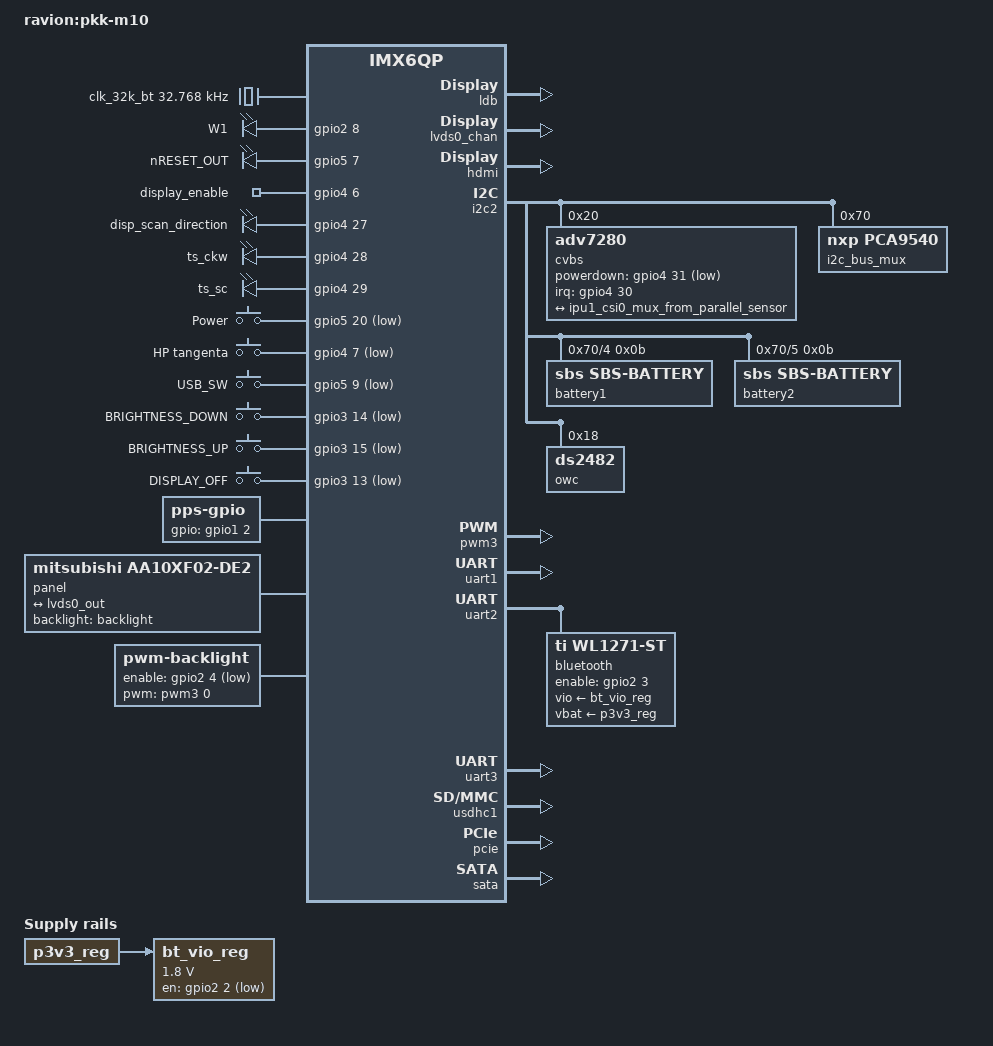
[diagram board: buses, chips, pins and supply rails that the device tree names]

/dts-v1/;

#include <dt-bindings/input/input.h>
#include <dt-bindings/interrupt-controller/irq.h>
#include "imx6qp.dtsi"
#include "imx6qdl-ravion.dtsi"

/ {
	model = "ravion:pkk-m10";
	compatible = "ravion,mcp", "ravion,raviom_imx6qp", "fsl,imx6qp";

	/*
	 * Device specific clocks
	 */
	clocks {
		clk_32k_bt: bt_clk {
			compatible = "fixed-clock";
			#clock-cells = <0>;
			clock-frequency = <32768>;
			clock-accuracy = <100>;
		 };
	};

	/*
	 * Device specific regulators
	 */
	bt_vio_reg: bt_vio {
			pinctrl-names = "default";
			pinctrl-0 = <&pinctrl_reg_bt_cif>;
			compatible = "regulator-fixed";
			regulator-name = "VIO_BT";
			regulator-min-microvolt = <1800000>;
			regulator-max-microvolt = <1800000>;
			gpio = <&gpio2 2 GPIO_ACTIVE_LOW>;
			regulator-always-on;
			vin-supply = <&p3v3_reg>;
	};

	/*
	 * Device specific leds
	 */
	gpio-leds {
		compatible = "gpio-leds";
		pinctrl-names = "default";
		pinctrl-0 = <&pinctrl_gpio_leds>;

		w1 {
			label = "W1";
			gpios = <&gpio2 8 GPIO_ACTIVE_HIGH>; /* soDimm127 */
			default-state = "on";
		};

		reset_out {
			label = "nRESET_OUT";
			gpios = <&gpio5 7 GPIO_ACTIVE_HIGH>; /* soDimm87 */
			default-state = "on";
		};

		disp_en {
			label = "display_enable";
			gpios = <&gpio4 6 GPIO_ACTIVE_HIGH>; /* SODIMM 124 */
			default-state = "on";
		};

		scan_dir {
			label = "disp_scan_direction";
			gpios = <&gpio4 27 GPIO_ACTIVE_HIGH>; /* SODIMM 184 */
			default-state = "off";
		};

		ts_ckw {
			label = "ts_ckw";
			gpios = <&gpio4 28 GPIO_ACTIVE_HIGH>; /* SODIMM 186 */
			default-state = "on";
		};

		ts_sc {
			label = "ts_sc";
			gpios = <&gpio4 29 GPIO_ACTIVE_HIGH>; /* SODIMM 188 */
			default-state = "on";
		};
	};

	/*
	 * Device specific keys
	 */
	gpio-keys {
		compatible = "gpio-keys";
		pinctrl-names = "default";
		pinctrl-0 = <&pinctrl_gpio_keys>;

		power {
			label = "Power";
			gpios = <&gpio5 20 GPIO_ACTIVE_LOW>; /* SODIMM 45 */
			linux,code = <KEY_POWER>;
			debounce-interval = <100>;
			wakeup-source;
		};

		hp_tangenta {
			label = "HP tangenta";
			gpios = <&gpio4 7 GPIO_ACTIVE_LOW>; /* SODIMM 134 */
			linux,code = <KEY_F13>;
			debounce-interval = <100>;
		};

		usb_sw {
			label = "USB_SW";
			gpios = <&gpio5 9 GPIO_ACTIVE_LOW>; /* SODIMM 122 */
			linux,input-type = <EV_SW>;
			linux,code = <SW_DOCK>;
			debounce-interval = <100>;
		};

		brightness_down  {
			label = "BRIGHTNESS_DOWN";
			gpios = <&gpio3 14 GPIO_ACTIVE_LOW>; /* SODIMM 118 */
			linux,code = <KEY_BRIGHTNESSDOWN>;
			debounce-interval = <100>;
		};

		brightness_up  {
			label = "BRIGHTNESS_UP";
			gpios = <&gpio3 15 GPIO_ACTIVE_LOW>; /* SODIMM 120 */
			linux,code = <KEY_BRIGHTNESSUP>;
			debounce-interval = <100>;
		};

		display_off  {
			label = "DISPLAY_OFF";
			gpios = <&gpio3 13 GPIO_ACTIVE_LOW>; /* SODIMM 116 */
			linux,code = <KEY_DISPLAY_OFF>;
			debounce-interval = <100>;
		};
	};

	/*
	 * PPS pin from SNS receiver
	 */
	pps {
		compatible = "pps-gpio";
		pinctrl-names = "default";
		pinctrl-0 = <&pinctrl_pps_gpio>;

		gpios = <&gpio1 2 GPIO_ACTIVE_HIGH>; /* soDimm 55 */
		assert-falling-edge;
		status = "okay";
	};


	panel {
		compatible = "mitsubishi,AA10XF02-DE2", "panel-lvds";
		backlight = <&backlight>;
		data-mapping = "jeida-24"; /* "jeida-18", "vesa-24" */

		width-mm = <210>;
		height-mm = <158>;

		panel-timing {
			clock-frequency = <65000000>;
			hactive = <1024>;
			vactive = <768>;
			hsync-len = <20>;
			hfront-porch = <150>;
			hback-porch = <150>;
			vfront-porch = <15>;
			vback-porch = <15>;
			vsync-len = <8>;
		};

		port {
			lvds_panel_in: endpoint {
				remote-endpoint = <&lvds0_out>;
			};
		};
	};

	backlight: backlight {
		pinctrl-names = "default";
		pinctrl-0 = <&pinctrl_gpio_bl_on>;
		compatible = "pwm-backlight";
		enable-gpios = <&gpio2 4 GPIO_ACTIVE_LOW>;	/* soDimm 119 */
		pwms = <&pwm3 0 2000>; /* FixMe: frequency !!! */
		brightness-levels = <0 31 63 95 127 159 191 223 255>;
		default-brightness-level = <5>;
		status = "okay";
	};
};

/*
 * LVDS display bridge
 */
&ldb {		status = "okay";	};
&lvds0_chan {
	fsl,data-mappings = "jeida"; /* "spwg" */
	fsl,data-width = <24>;
	status = "okay";
};
&lvds0_out { remote-endpoint = <&lvds_panel_in>; };

&hdmi {	status = "okay"; };

/*
 * Colibri I2C: I2C3_SDA/SCL on SODIMM 194/196 (e.g. RTC on carrier board)
 */
&i2c2 {
	status = "okay";

	/* Composite video capture interface */
	cvbs: adv7280@20 {
		reg = <0x20>;
		compatible = "adv7280", "adi,adv7280";
		pinctrl-names = "default";
		pinctrl-0 = <&pinctrl_adv7280>;
		interrupt-parent = <&gpio4>;
		interrupts = <30 IRQ_TYPE_LEVEL_LOW>;
		powerdown-gpios = <&gpio4 31 GPIO_ACTIVE_LOW>;
		input-names = "Ain1","Ain2","Ain3","Ain4";
		inputs = <0x00 0x01 0x02 0x03>;
		status = "okay";

		port {
			adv7280_ep: endpoint {
				remote-endpoint = <&ipu1_csi0_mux_from_parallel_sensor>;
				bus-width = <8>;
			};
		};
	};

	i2c_bus_mux: mux@70 { /* I2C bus multiplexer/switch */
		status = "okay";
		compatible = "nxp,pca9540";
		#address-cells = <1>;
		#size-cells = <0>;
		reg = <0x70>;

		i2c-mux@4 {
			#address-cells = <1>;
			#size-cells = <0>;
			reg = <4>;
			status = "okay";

			/* Texas Instruments SBS-compatible Fuel Gauge Controller */
			battery1@0b {
				status = "okay";
				compatible = "sbs,sbs-battery";
				reg = <0x0b>;
				sbs,i2c-retry-count = <2>;
				sbs,poll-retry-count = <10>;
			};
		};

		i2c-mux@5 {
			#address-cells = <1>;
			#size-cells = <0>;
			reg = <5>;
			status = "okay";

			/* Texas Instruments SBS-compatible Fuel Gauge Controller */
			battery2@0b {
				status = "okay";
				compatible = "sbs,sbs-battery";
				reg = <0x0b>;
				sbs,i2c-retry-count = <2>;
				sbs,poll-retry-count = <10>;
			};
		};
	};

	/* DS2484: I2C to OneWire Converter */
	owc: ds2482@18 {
		status = "okay";
		compatible = "ds2482";
		reg = <0x18>;
	};
};

/*
 * Composite video capture
 */
&ipu1_csi0 {
	pinctrl-names = "default";
	pinctrl-0 = <&pinctrl_ipu1_csi0>;
};

&ipu1_csi0_from_ipu1_csi0_mux {
};

&ipu1_csi0_mux_from_parallel_sensor {
	remote-endpoint = <&adv7280_ep>;
};

/* Only pwm1 used as bright contol, all other - disabled  */
&pwm3 { status = "okay";	}; /* soDimm 28 - LCD bright */

/* uart1 - sys (3w), uart2 - bluetoth (H3), uart3 disabled by default */
&uart1 { status = "okay"; }; /* default full feature uart */
&uart2 { /* default have CTS/RTS pins */
	status = "okay";

	bluetooth {
		pinctrl-names = "default";
		pinctrl-0 = <&pinctrl_bluetooth>;

		enable-gpios	= <&gpio2 3 GPIO_ACTIVE_HIGH>;
		compatible	= "ti,wl1271-st";
		clocks		= <&clk_32k_bt 0>;
		clock-names	= "ext_clock";
		max-speed	= <3686400>;
		/*
		 * Params not found in source, but described in documentation
		 */
		current-speed	= <115200>;
		vio-supply	= <&bt_vio_reg>;
		vbat-supply	= <&p3v3_reg>;
		status = "okay";
	};
};
&uart3 { status = "okay"; }; /* default 3-wire uart */

/* external mmc card */
&usdhc1 { status = "okay"; };

/*
 * High-speed serial bus
 */
&pcie {	status = "okay";	};
&sata {	status = "okay";	};

/* Board specific io muxing */
&iomuxc {
	pinctrl_reg_bt_cif: gpio-reg-bt-cif {
		fsl,pins = <
			MX6QDL_PAD_NANDF_D2__GPIO2_IO02		0x0f058 /* PU_22K soDimm 115: CIF_BT_PWR */
		>;
	};

	pinctrl_gpio_bl_on: gpioblon {
		fsl,pins = <
			MX6QDL_PAD_NANDF_D4__GPIO2_IO04		0x1b0b0 /* soDimm 119 */
		>;
	};

	pinctrl_adv7280: gpio-adv7280 {
		fsl,pins = <
			MX6QDL_PAD_DISP0_DAT9__GPIO4_IO30	0x1b0b0	/* soDimm71  CIF_DATA0 - CIF_IRQn */
			MX6QDL_PAD_DISP0_DAT10__GPIO4_IO31	0x0f058	/* soDimm98  CIF_DATA1 - CIF_nPWRDN */
		>;
	};

	pinctrl_bluetooth: gpio-bluetooth {
		fsl,pins = <
			MX6QDL_PAD_NANDF_D3__GPIO2_IO03		0x0f058 /* PU_22K soDimm 117 - nBT_PDN */
		>;
	};

	pinctrl_gpio_leds: gpio-leds {
		fsl,pins = <
			MX6QDL_PAD_DISP0_DAT13__GPIO5_IO07	0xf058 /* soDimm87:  nRESET_OUT */
			MX6QDL_PAD_SD4_DAT0__GPIO2_IO08		0xf058 /* soDImm127: SLPZ@DS2484R */
			MX6QDL_PAD_KEY_COL0__GPIO4_IO06		0xf058 /* soDimm124. DISP EN */
			MX6QDL_PAD_DISP0_DAT6__GPIO4_IO27	0xf058 /* soDimm184. DISP SD */
			MX6QDL_PAD_DISP0_DAT7__GPIO4_IO28	0xf058 /* soDimm186. TS CKW */
			MX6QDL_PAD_DISP0_DAT8__GPIO4_IO29	0xf058 /* soDimm188. TS_SC */
		>;
	};

	pinctrl_gpio_keys: gpio-keys {
		fsl,pins = <
			MX6QDL_PAD_CSI0_DATA_EN__GPIO5_IO20	0x1b0b0	/* Power button */
			MX6QDL_PAD_EIM_DA13__GPIO3_IO13		0x1b0b0	/* soDimm 116 */
			MX6QDL_PAD_EIM_DA14__GPIO3_IO14		0x1b0b0	/* soDimm 118 */
			MX6QDL_PAD_EIM_DA15__GPIO3_IO15		0x1b0b0	/* soDimm 120 */
			MX6QDL_PAD_DISP0_DAT15__GPIO5_IO09	0x1b0b0	/* soDimm122. WIFI EN */
			MX6QDL_PAD_KEY_ROW0__GPIO4_IO07		0x1b0b0 /* Tangenta soDimm 134 */
		>;
	};

	pinctrl_pps_gpio: gpiopps {
		fsl,pins = <
			MX6QDL_PAD_GPIO_2__GPIO1_IO02		0x1b0b0 /* soDimm 55 */
		>;
	};
};
